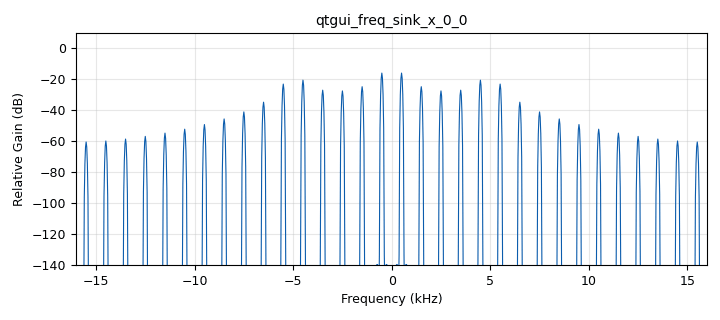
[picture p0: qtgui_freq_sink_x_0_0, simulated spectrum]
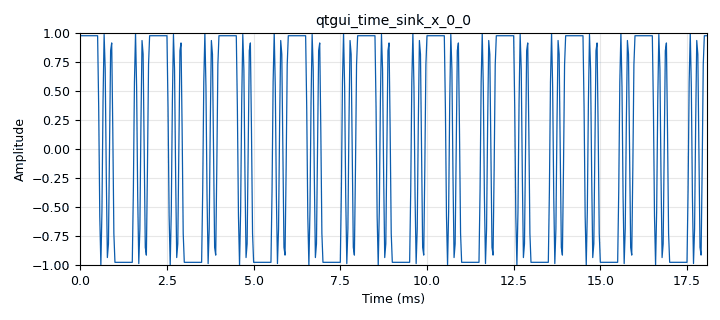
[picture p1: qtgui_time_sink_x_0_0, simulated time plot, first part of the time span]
options:
  parameters:
    generate_options: qt_gui
    id: untitled
    output_language: python
    title: Not titled yet
  states: {}

blocks:
- name: samp_rate
  id: variable
  parameters:
    value: '32000'
  states: {}
- name: analog_sig_source_x_0
  id: analog_sig_source_x
  parameters:
    amp: '1'
    freq: '1000'
    offset: '0'
    phase: '0'
    samp_rate: samp_rate
    type: complex
    waveform: analog.GR_SQR_WAVE
  states: {state: disabled}
- name: analog_sig_source_x_0_0
  id: analog_sig_source_x
  parameters:
    amp: '1'
    freq: '1000'
    offset: '0'
    phase: '0'
    samp_rate: samp_rate
    type: float
    waveform: analog.GR_SQR_WAVE
  states: {}
- name: analog_sig_source_x_1
  id: analog_sig_source_x
  parameters:
    amp: '1'
    freq: '1000'
    offset: '0'
    phase: '0'
    samp_rate: samp_rate
    type: complex
    waveform: analog.GR_COS_WAVE
  states: {state: disabled}
- name: blocks_multiply_xx_0
  id: blocks_multiply_xx
  parameters:
    type: complex
  states: {state: disabled}
- name: blocks_throttle2_0
  id: blocks_throttle2
  parameters:
    samples_per_second: samp_rate
    type: complex
  states: {state: disabled}
- name: blocks_vco_f_0
  id: blocks_vco_f
  parameters:
    amplitude: '1'
    samp_rate: '32000'
    sensitivity: '31416 '
  states: {}
- name: qtgui_freq_sink_x_0
  id: qtgui_freq_sink_x
  parameters:
    bw: samp_rate
    fc: '0'
    fftsize: '1024'
    type: complex
  states: {state: disabled}
- name: qtgui_freq_sink_x_0_0
  id: qtgui_freq_sink_x
  parameters:
    bw: samp_rate
    fc: '0'
    fftsize: '1024'
    type: float
  states: {}
- name: qtgui_time_sink_x_0
  id: qtgui_time_sink_x
  parameters:
    size: '1024'
    srate: samp_rate
    type: complex
  states: {state: disabled}
- name: qtgui_time_sink_x_0_0
  id: qtgui_time_sink_x
  parameters:
    size: '1024'
    srate: samp_rate
    type: float
  states: {}

connections:
- [analog_sig_source_x_0, '0', blocks_multiply_xx_0, '0']
- [analog_sig_source_x_0_0, '0', blocks_vco_f_0, '0']
- [analog_sig_source_x_1, '0', blocks_multiply_xx_0, '1']
- [blocks_multiply_xx_0, '0', blocks_throttle2_0, '0']
- [blocks_throttle2_0, '0', qtgui_freq_sink_x_0, '0']
- [blocks_throttle2_0, '0', qtgui_time_sink_x_0, '0']
- [blocks_vco_f_0, '0', qtgui_freq_sink_x_0_0, '0']
- [blocks_vco_f_0, '0', qtgui_time_sink_x_0_0, '0']

metadata:
  file_format: 1
  grc_version: 3.10.12.0
